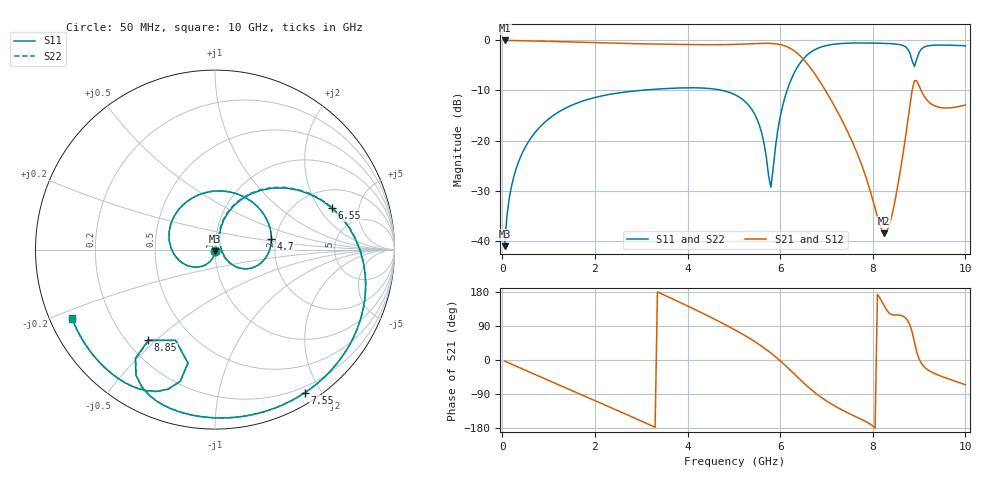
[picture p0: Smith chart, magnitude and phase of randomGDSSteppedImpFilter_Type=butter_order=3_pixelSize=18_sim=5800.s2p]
! freq	dB(S11)	phase(S11)	dB(S12)	phase(S12)
!  dB(S21)	phase(S21)	dB(S22)	phase(S22)
!S-par simulation data
#  GHz  S  DB  R 50
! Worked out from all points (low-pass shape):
!   200 points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, 50 MHz to 10 GHz, reference 50 ohm
!   highest |S21| = 0.00 dB at 50 MHz (marker M1); lowest = -38.5 dB at 8.25 GHz (marker M2)
!   |S21| within 3 dB of the highest: start of sweep to 6.422 GHz
!   lowest |S11| = -41.1 dB at 50 MHz (marker M3), VSWR 1.02, Z = 50 - j0.878 ohm
!   |S11| at or under -10 dB: start of sweep to 2.969 GHz; 4.754 GHz to 6.149 GHz (1.395 GHz wide, 25.6 % of centre)
!   |S22| runs from -41.1 to -0.5 dB; largest |S21 - S12| = 0
!   S11 on the Smith chart (normalised r, x): 50 MHz: 1.00, -0.02; 4.7 GHz: 1.89, +0.26; 6.55 GHz: 2.99, +2.65; 7.55 GHz: 0.13, -1.80; 8.85 GHz: 0.28, -0.47; 10 GHz: 0.06, -0.23
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0.05  -41.12 -92.4  -0.00 -2.7  -0.00 -2.7  -41.11 -92.4
0.2  -29.10 -101.0  -0.01 -10.9  -0.01 -10.9  -29.09 -101.0
0.5  -21.26 -117.6  -0.07 -27.1  -0.07 -27.1  -21.25 -117.6
1.15  -14.69 -152.8  -0.22 -61.9  -0.22 -61.9  -14.69 -152.7
1.75  -12.07 175.2  -0.39 -93.8  -0.39 -93.8  -12.06 175.4
2.65  -10.32 127.1  -0.61 -142.0  -0.61 -142.0  -10.32 127.4
3.4  -9.69 86.0  -0.74 176.9  -0.74 176.9  -9.69 86.3
4  -9.47 52.0  -0.82 142.7  -0.82 142.7  -9.47 52.4
4.7  -9.90 11.0  -0.84 100.5  -0.84 100.5  -9.90 11.2
5.05  -10.97 -10.5  -0.78 77.7  -0.78 77.7  -10.97 -10.3
5.55  -16.90 -40.1  -0.60 40.6  -0.60 40.6  -16.92 -40.5
5.8  -29.34 22.5  -0.60 18.4  -0.60 18.4  -29.93 23.1
6.05  -13.23 70.6  -0.94 -7.4  -0.94 -7.4  -13.25 71.5
6.55  -3.20 19.5  -4.26 -65.2  -4.26 -65.2  -3.20 20.0
6.7  -2.10 4.2  -6.06 -81.1  -6.06 -81.1  -2.10 4.6
7.55  -0.52 -58.0  -20.09 -144.7  -20.09 -144.7  -0.52 -57.8
8.25  -0.58 -93.0  -38.51 142.2  -38.51 142.2  -0.58 -92.8
8.35  -0.62 -97.8  -37.13 124.3  -37.13 124.3  -0.62 -97.6
8.85  -4.05 -126.4  -9.92 73.7  -9.92 73.7  -4.05 -126.2
8.95  -3.75 -103.5  -8.06 20.8  -8.06 20.8  -3.74 -103.3
9.15  -1.18 -115.8  -11.70 -22.3  -11.70 -22.3  -1.18 -115.7
10  -1.07 -154.3  -12.89 -65.3  -12.89 -65.3  -1.07 -154.2
